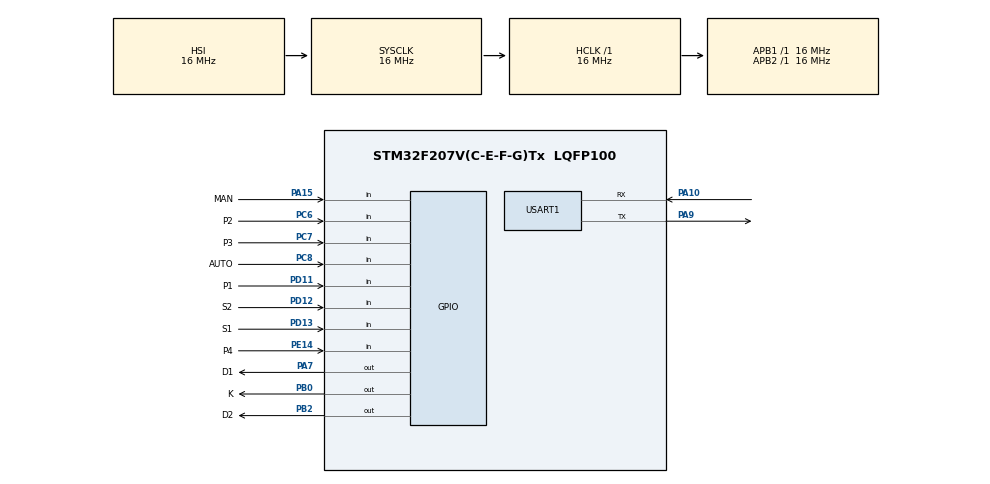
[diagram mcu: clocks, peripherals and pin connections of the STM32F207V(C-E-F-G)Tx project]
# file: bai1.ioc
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Mcu.Family=STM32F2
Mcu.Name=STM32F207V(C-E-F-G)Tx
Mcu.Package=LQFP100
NVIC.PriorityGroup=NVIC_PRIORITYGROUP_4
NVIC.TIM1_UP_TIM10_IRQn=true\:0\:0\:false\:false\:true\:true\:true\:true
NVIC.USART1_IRQn=true\:0\:0\:false\:false\:true\:true\:true\:true
PA10.Mode=Asynchronous
PA10.Signal=USART1_RX
PA13.Mode=Serial_Wire
PA13.Signal=SYS_JTMS-SWDIO
PA14.Mode=Serial_Wire
PA14.Signal=SYS_JTCK-SWCLK
PA15.GPIO_Label=MAN
PA15.Signal=GPIO_Input
PA7.GPIO_Label=D1
PA7.Signal=GPIO_Output
PA9.Mode=Asynchronous
PA9.Signal=USART1_TX
PB0.GPIO_Label=K
PB0.Signal=GPIO_Output
PB2.GPIO_Label=D2
PB2.Signal=GPIO_Output
PC6.GPIO_Label=P2
PC6.Signal=GPIO_Input
PC7.GPIO_Label=P3
PC7.Signal=GPIO_Input
PC8.GPIO_Label=AUTO
PC8.Signal=GPIO_Input
PD11.GPIO_Label=P1
PD11.Signal=GPIO_Input
PD12.GPIO_Label=S2
PD12.Signal=GPIO_Input
PD13.GPIO_Label=S1
PD13.Signal=GPIO_Input
PE14.GPIO_Label=P4
PE14.Signal=GPIO_Input
ProjectManager.HeapSize=0x200
ProjectManager.StackSize=0x400
ProjectManager.TargetToolchain=MDK-ARM V5.32
RCC.48MHZClocksFreq_Value=48000000
RCC.AHBFreq_Value=16000000
RCC.APB1Freq_Value=16000000
RCC.APB2Freq_Value=16000000
RCC.CortexFreq_Value=16000000
RCC.HSE_VALUE=25000000
RCC.HSI_VALUE=16000000
RCC.LSE_VALUE=32768
RCC.SYSCLKFreq_VALUE=16000000
RCC.VCOOutputFreq_Value=192000000
TIM1.Period=249
TIM1.Prescaler=7999
USART1.VirtualMode=VM_ASYNC
VP_TIM1_VS_ClockSourceINT.Mode=Internal
board=custom

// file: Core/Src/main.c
/* USER CODE BEGIN Header */
/**
  ******************************************************************************
  * @file           : main.c
  * @brief          : Main program body
  ******************************************************************************
  * @attention
  *
  * Copyright (c) 2024 STMicroelectronics.
  * All rights reserved.
  *
  * This software is licensed under terms that can be found in the LICENSE file
  * in the root directory of this software component.
  * If no LICENSE file comes with this software, it is provided AS-IS.
  *
  ******************************************************************************
  */
/* USER CODE END Header */
#include "main.h"

/* USER CODE BEGIN Includes */
#include <stdio.h>
#include <stdlib.h>
#include <string.h>
/* USER CODE END Includes */

/* USER CODE BEGIN PD */
#define BUTTON_PRESSED 0  //nhan nut, tin hieu doc vao la 0.
/* USER CODE END PD */

TIM_HandleTypeDef htim1;

UART_HandleTypeDef huart1;

/* USER CODE BEGIN PV */
uint8_t P1;
uint8_t P2;
uint8_t P3;
uint8_t P4;
uint8_t MAN;
uint8_t AUTO;
uint8_t S1;
uint8_t S2;

// bien uart
uint8_t rx_data;
uint8_t index_rx=0;
uint8_t rx_buffer[4];

// bien timer
uint16_t count;
uint16_t ms =0;

// bien giu
uint8_t final_station;
uint8_t SP =0;

// bien nhan uart
char Stop[] = "stop";

/* USER CODE END PV */

void SystemClock_Config(void);
static void MX_GPIO_Init(void);
static void MX_USART1_UART_Init(void);
static void MX_TIM1_Init(void);

/* USER CODE BEGIN 0 */

uint32_t docSoTuMang(uint8_t mang[], int doDai) {
        for (int i = 0; i < doDai; i++) {
        ms = ms * 10 + mang[i];
    }
    return ms;
}

//Ham truyen du lieu
void HAL_UART_RxCpltCallback(UART_HandleTypeDef *huart) {
    if (huart->Instance == USART1) {
        if (rx_data == '\n') {
            HAL_UART_Transmit(&huart1, (uint8_t *)rx_buffer, index_rx, 100); // gui du lieu da nhan
            memset(rx_buffer, 0, sizeof(rx_buffer)); // xoa du lieu trong mang rx_buffer
            index_rx = 0; // dat lai index_rx chuan bi cho du lieu tiep theo
        } else {
            rx_buffer[index_rx++] = rx_data; // luu ky tu vao mang rx_bufer
            // Kiem tra xem mang dã day chua
            if (index_rx >= sizeof(rx_buffer)) {
                // Neu da day, không làm gì cho xu lý tùy ý
            }
        }
        HAL_UART_Receive_IT(&huart1, &rx_data, 1); // Ti?p t?c nh?n d? li?u
    }
}

//Ham gui len uart
void UART_Send_Value(int value) {
    char buffer[4]; // T?o m?t m?ng ký t? d? ch?a s? và ký t? k?t thúc chu?i ('\0')
    if (value < 10) {
        snprintf(buffer, sizeof(buffer), "0%d", value); // Format gia tri (01-> 09)
    } else {
        snprintf(buffer, sizeof(buffer), "%d", value); // Format gia tri chuoi thanh (10 -> 99)
    }
    HAL_UART_Transmit(&huart1, (uint8_t *)buffer, strlen(buffer), HAL_MAX_DELAY); // G?i chu?i qua UART
}

/* USER CODE END 0 */

int main(void)
{

  /* MCU Configuration--------------------------------------------------------*/

  /* Reset of all peripherals, Initializes the Flash interface and the Systick. */
  HAL_Init();

  /* Configure the system clock */
  SystemClock_Config();

  /* Initialize all configured peripherals */
  MX_GPIO_Init();
  MX_USART1_UART_Init();
  MX_TIM1_Init();
  /* USER CODE BEGIN 2 */
	// Ham goi uart
	HAL_UART_Receive_IT(&huart1, &rx_data, 1);

	// Ham Set ban dau
	HAL_GPIO_WritePin(K_GPIO_Port,K_Pin, GPIO_PIN_SET);
	HAL_GPIO_WritePin(D2_GPIO_Port,D2_Pin, GPIO_PIN_SET);
	HAL_GPIO_WritePin(D1_GPIO_Port,D1_Pin, GPIO_PIN_SET);
  /* USER CODE END 2 */

  /* Infinite loop */
  while (1)
  {

    /* USER CODE BEGIN 3 */
		// 1 tac dong trong 1 truong hop.
		P1 = HAL_GPIO_ReadPin(P1_GPIO_Port,P1_Pin); //P1 tra ve 2 gia tri 0 or 1, neu =0 nghia la nut da duoc nhan.
		P2 = HAL_GPIO_ReadPin(P2_GPIO_Port,P2_Pin);
		P3 = HAL_GPIO_ReadPin(P3_GPIO_Port,P4_Pin);
		P4 = HAL_GPIO_ReadPin(P4_GPIO_Port,P4_Pin);
		MAN = HAL_GPIO_ReadPin(MAN_GPIO_Port,AUTO_Pin);
		AUTO = HAL_GPIO_ReadPin(AUTO_GPIO_Port,AUTO_Pin);
		S1 = HAL_GPIO_ReadPin(S1_GPIO_Port,S1_Pin); // Khi co vat S1 tra ve 0 // co vat
		S2 = HAL_GPIO_ReadPin(S2_GPIO_Port,S2_Pin); // Khi co vat S2 tra ve 1 khi co vat, s1, s2 trai nguoc nhau, s1 tra ve gi, thi s2 tra ve nguoc lai
		HAL_StatusTypeDef status = HAL_UART_Receive_IT(&huart1, &rx_data, 1);
		if ((P1==0)&& (AUTO==0))// nut xanh
		{
			HAL_GPIO_WritePin(K_GPIO_Port,K_Pin, GPIO_PIN_RESET);
			HAL_GPIO_WritePin(D1_GPIO_Port,D1_Pin, GPIO_PIN_RESET);
			// tao bien du trang thai.
			final_station = 1;
		}
		if ((P2==0)&&((MAN==0)|(AUTO==0)))// nut do
		{
			HAL_GPIO_WritePin(K_GPIO_Port,K_Pin, GPIO_PIN_SET);
			HAL_GPIO_WritePin(D2_GPIO_Port,D2_Pin, GPIO_PIN_RESET);
			HAL_GPIO_WritePin(D1_GPIO_Port,D1_Pin, GPIO_PIN_SET);
			final_station= 0;
		}
		if ((P3==0)&&(AUTO==0))// nut vang
		{
			final_station= 0;
			HAL_GPIO_WritePin(K_GPIO_Port,K_Pin, GPIO_PIN_SET);
			HAL_Delay(5000);
			if((S1==0)&&(final_station==0))
			{
				final_station = 1;
			}
		}
		if ((S2==1)&& (AUTO==0))
		{
			HAL_GPIO_WritePin(K_GPIO_Port,K_Pin, GPIO_PIN_SET);			// trang thai ban dau la khong chay, den trang thai cuoi, bang tai luon chay.
			HAL_GPIO_WritePin(D2_GPIO_Port,D2_Pin, GPIO_PIN_RESET); // bang tai chay khi nhan nút, gap S2 thi dung.--> mong muon, lay vat ra thi bang tai lai chay.
			HAL_GPIO_WritePin(D1_GPIO_Port,D1_Pin, GPIO_PIN_SET);
			SP++;
			UART_Send_Value(SP);

		}

		if ((final_station==1)&& (AUTO==0)&&(S2==0))
		{
			HAL_GPIO_WritePin(K_GPIO_Port,K_Pin, GPIO_PIN_RESET);
			HAL_GPIO_WritePin(D1_GPIO_Port,D1_Pin, GPIO_PIN_RESET);
		}

		if (strcmp((char *)rx_buffer, Stop)==0) {
			SP=0;
			HAL_GPIO_WritePin(K_GPIO_Port,K_Pin, GPIO_PIN_SET);
			final_station =0;
		}

  }
  /* USER CODE END 3 */
}

void SystemClock_Config(void)
{
  RCC_OscInitTypeDef RCC_OscInitStruct = {0};
  RCC_ClkInitTypeDef RCC_ClkInitStruct = {0};

  /** Initializes the RCC Oscillators according to the specified parameters
  * in the RCC_OscInitTypeDef structure.
  */
  RCC_OscInitStruct.OscillatorType = RCC_OSCILLATORTYPE_HSI;
  RCC_OscInitStruct.HSIState = RCC_HSI_ON;
  RCC_OscInitStruct.HSICalibrationValue = RCC_HSICALIBRATION_DEFAULT;
  RCC_OscInitStruct.PLL.PLLState = RCC_PLL_NONE;
  if (HAL_RCC_OscConfig(&RCC_OscInitStruct) != HAL_OK)
  {
    Error_Handler();
  }

  /** Initializes the CPU, AHB and APB buses clocks
  */
  RCC_ClkInitStruct.ClockType = RCC_CLOCKTYPE_HCLK|RCC_CLOCKTYPE_SYSCLK
                              |RCC_CLOCKTYPE_PCLK1|RCC_CLOCKTYPE_PCLK2;
  RCC_ClkInitStruct.SYSCLKSource = RCC_SYSCLKSOURCE_HSI;
  RCC_ClkInitStruct.AHBCLKDivider = RCC_SYSCLK_DIV1;
  RCC_ClkInitStruct.APB1CLKDivider = RCC_HCLK_DIV1;
  RCC_ClkInitStruct.APB2CLKDivider = RCC_HCLK_DIV1;

  if (HAL_RCC_ClockConfig(&RCC_ClkInitStruct, FLASH_LATENCY_0) != HAL_OK)
  {
    Error_Handler();
  }
}

static void MX_TIM1_Init(void)
{

  TIM_ClockConfigTypeDef sClockSourceConfig = {0};
  TIM_MasterConfigTypeDef sMasterConfig = {0};

  htim1.Instance = TIM1;
  htim1.Init.Prescaler = 7999;
  htim1.Init.CounterMode = TIM_COUNTERMODE_UP;
  htim1.Init.Period = 249;
  htim1.Init.ClockDivision = TIM_CLOCKDIVISION_DIV1;
  htim1.Init.RepetitionCounter = 0;
  htim1.Init.AutoReloadPreload = TIM_AUTORELOAD_PRELOAD_DISABLE;
  if (HAL_TIM_Base_Init(&htim1) != HAL_OK)
  {
    Error_Handler();
  }
  sClockSourceConfig.ClockSource = TIM_CLOCKSOURCE_INTERNAL;
  if (HAL_TIM_ConfigClockSource(&htim1, &sClockSourceConfig) != HAL_OK)
  {
    Error_Handler();
  }
  sMasterConfig.MasterOutputTrigger = TIM_TRGO_RESET;
  sMasterConfig.MasterSlaveMode = TIM_MASTERSLAVEMODE_DISABLE;
  if (HAL_TIMEx_MasterConfigSynchronization(&htim1, &sMasterConfig) != HAL_OK)
  {
    Error_Handler();
  }

}

static void MX_USART1_UART_Init(void)
{

  huart1.Instance = USART1;
  huart1.Init.BaudRate = 115200;
  huart1.Init.WordLength = UART_WORDLENGTH_8B;
  huart1.Init.StopBits = UART_STOPBITS_1;
  huart1.Init.Parity = UART_PARITY_NONE;
  huart1.Init.Mode = UART_MODE_TX_RX;
  huart1.Init.HwFlowCtl = UART_HWCONTROL_NONE;
  huart1.Init.OverSampling = UART_OVERSAMPLING_16;
  if (HAL_UART_Init(&huart1) != HAL_OK)
  {
    Error_Handler();
  }

}

static void MX_GPIO_Init(void)
{
  GPIO_InitTypeDef GPIO_InitStruct = {0};

  /* GPIO Ports Clock Enable */
  __HAL_RCC_GPIOA_CLK_ENABLE();
  __HAL_RCC_GPIOB_CLK_ENABLE();
  __HAL_RCC_GPIOE_CLK_ENABLE();
  __HAL_RCC_GPIOD_CLK_ENABLE();
  __HAL_RCC_GPIOC_CLK_ENABLE();

  /*Configure GPIO pin Output Level */
  HAL_GPIO_WritePin(D1_GPIO_Port, D1_Pin, GPIO_PIN_RESET);

  /*Configure GPIO pin Output Level */
  HAL_GPIO_WritePin(GPIOB, K_Pin|D2_Pin, GPIO_PIN_RESET);

  /*Configure GPIO pin : D1_Pin */
  GPIO_InitStruct.Pin = D1_Pin;
  GPIO_InitStruct.Mode = GPIO_MODE_OUTPUT_PP;
  GPIO_InitStruct.Pull = GPIO_NOPULL;
  GPIO_InitStruct.Speed = GPIO_SPEED_FREQ_LOW;
  HAL_GPIO_Init(D1_GPIO_Port, &GPIO_InitStruct);

  /*Configure GPIO pins : K_Pin D2_Pin */
  GPIO_InitStruct.Pin = K_Pin|D2_Pin;
  GPIO_InitStruct.Mode = GPIO_MODE_OUTPUT_PP;
  GPIO_InitStruct.Pull = GPIO_NOPULL;
  GPIO_InitStruct.Speed = GPIO_SPEED_FREQ_LOW;
  HAL_GPIO_Init(GPIOB, &GPIO_InitStruct);

  /*Configure GPIO pin : P4_Pin */
  GPIO_InitStruct.Pin = P4_Pin;
  GPIO_InitStruct.Mode = GPIO_MODE_INPUT;
  GPIO_InitStruct.Pull = GPIO_NOPULL;
  HAL_GPIO_Init(P4_GPIO_Port, &GPIO_InitStruct);

  /*Configure GPIO pins : P1_Pin S2_Pin S1_Pin */
  GPIO_InitStruct.Pin = P1_Pin|S2_Pin|S1_Pin;
  GPIO_InitStruct.Mode = GPIO_MODE_INPUT;
  GPIO_InitStruct.Pull = GPIO_NOPULL;
  HAL_GPIO_Init(GPIOD, &GPIO_InitStruct);

  /*Configure GPIO pins : P2_Pin P3_Pin AUTO_Pin */
  GPIO_InitStruct.Pin = P2_Pin|P3_Pin|AUTO_Pin;
  GPIO_InitStruct.Mode = GPIO_MODE_INPUT;
  GPIO_InitStruct.Pull = GPIO_NOPULL;
  HAL_GPIO_Init(GPIOC, &GPIO_InitStruct);

  /*Configure GPIO pin : MAN_Pin */
  GPIO_InitStruct.Pin = MAN_Pin;
  GPIO_InitStruct.Mode = GPIO_MODE_INPUT;
  GPIO_InitStruct.Pull = GPIO_NOPULL;
  HAL_GPIO_Init(MAN_GPIO_Port, &GPIO_InitStruct);

}

void Error_Handler(void)
{
  __disable_irq();
  while (1)
  {
  }
}
